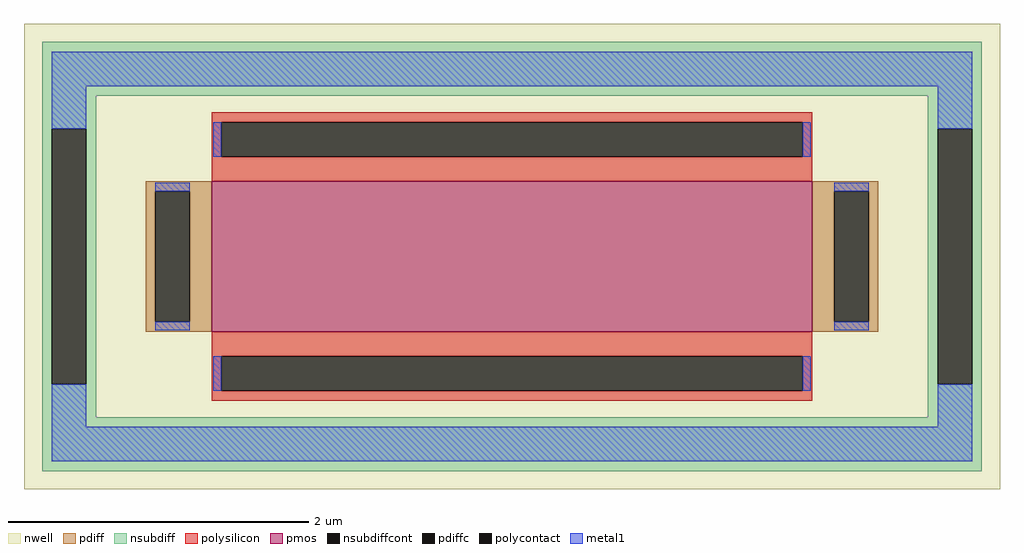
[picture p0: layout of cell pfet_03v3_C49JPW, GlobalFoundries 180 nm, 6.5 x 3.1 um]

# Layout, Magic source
magic
tech gf180mcuD
magscale 1 10
<< nwell >>
rect -650 -310 650 310
<< pmos >>
rect -400 -100 400 100
<< pdiff >>
rect -488 87 -400 100
rect -488 -87 -475 87
rect -429 -87 -400 87
rect -488 -100 -400 -87
rect 400 87 488 100
rect 400 -87 429 87
rect 475 -87 488 87
rect 400 -100 488 -87
<< pdiffc >>
rect -475 -87 -429 87
rect 429 -87 475 87
<< nsubdiff >>
rect -626 214 626 286
rect -626 170 -554 214
rect -626 -170 -613 170
rect -567 -170 -554 170
rect 554 170 626 214
rect -626 -214 -554 -170
rect 554 -170 567 170
rect 613 -170 626 170
rect 554 -214 626 -170
rect -626 -286 626 -214
<< nsubdiffcont >>
rect -613 -170 -567 170
rect 567 -170 613 170
<< polysilicon >>
rect -400 179 400 192
rect -400 133 -387 179
rect 387 133 400 179
rect -400 100 400 133
rect -400 -133 400 -100
rect -400 -179 -387 -133
rect 387 -179 400 -133
rect -400 -192 400 -179
<< polycontact >>
rect -387 133 387 179
rect -387 -179 387 -133
<< metal1 >>
rect -613 227 613 273
rect -613 170 -567 227
rect -398 133 -387 179
rect 387 133 398 179
rect 567 170 613 227
rect -475 87 -429 98
rect -475 -98 -429 -87
rect 429 87 475 98
rect 429 -98 475 -87
rect -613 -227 -567 -170
rect -398 -179 -387 -133
rect 387 -179 398 -133
rect 567 -227 613 -170
rect -613 -273 613 -227
<< properties >>
string FIXED_BBOX -590 -250 590 250
string gencell pfet_03v3
string library gf180mcu
string parameters w 1.0 l 4.0 m 1 nf 1 diffcov 100 polycov 100 guard 1 glc 1 grc 1 gtc 0 gbc 0 tbcov 100 rlcov 100 topc 1 botc 1 poverlap 0 doverlap 1 lmin 0.28 wmin 0.22 class mosfet full_metal 1 compatible {pfet_03v3 pfet_06v0} ad {int((nf+1)/2) * W/nf * 0.18u} as {int((nf+2)/2) * W/nf * 0.18u} pd {2*int((nf+1)/2) * (W/nf + 0.18u)} ps {2*int((nf+2)/2) * (W/nf + 0.18u)} nrd {0.18u / W} nrs {0.18u / W} sa 0 sb 0 sd 0
<< end >>
